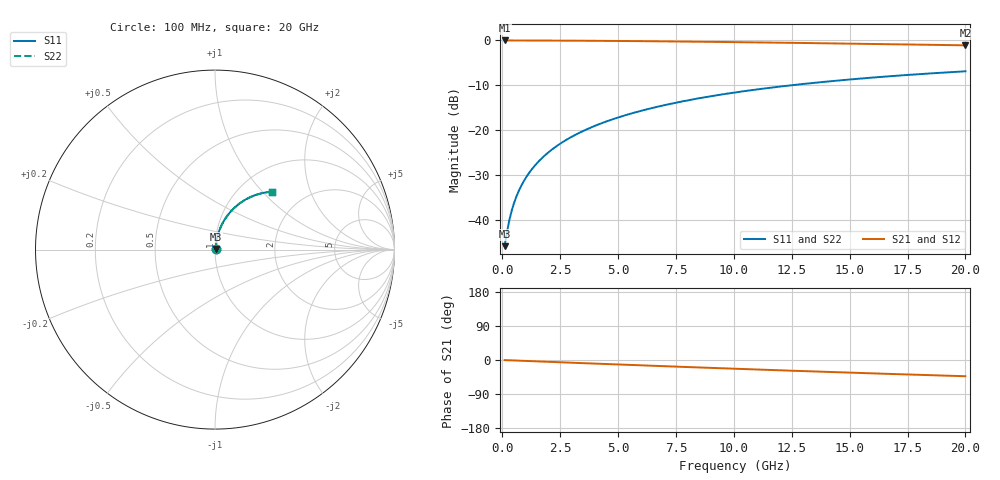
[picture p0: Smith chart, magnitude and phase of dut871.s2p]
! Touchstone file exported from HFSS 2026.1.0
!  File:  C:/ffzhzh/LocalFiles/Ansys_Project_Files/temp_train_BSMRDL_871_1783170905_22436.aedt
!  Generated:  09:16:16 PM Jul  4, 2026
!  Design:  BSMRDL
!  Project:  temp_train_BSMRDL_871_1783170905_22436
! Variables:
!  h_bsmrdl = 4.16um
!  h_ox = 20um
!  h_rdl = 5um
!  h_sub = 80um
!  h_tmrdl = 5um
!  h_tsv = 80um
!  h_via = 3um
!  l_bsmrdl = 595.69um
!  l_sub = 995.69um
!  l_tmrdl = 200um
!  m_sub = 200um
!  pitch = 41.74um
!  r_tsv = 6um
!  s_tmrdl = 10um
!  w_bsmrdl = 12.4um
!  w_sub = 500um
!  w_tmrdl = 12um
!  x_tsv_center1 = 206um
!  x_tsv_center2 = 814.09um
!  x_tsv_center3 = 1026.09um
!  x_tsv_center4 = 1634.18um
!  x_tsv_center5 = 1846.18um
!  x_tsv_center6 = 2454.27um
# GHz S MA R 50.000000
! Terminal data exported
! Port[1] = BSM_RDL1_1_T1
! Port[2] = BSM_RDL1_1_T2
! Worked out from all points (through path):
!   200 points, 100 MHz to 20 GHz, reference 50 ohm
!   highest |S21| = -0.04 dB at 100 MHz (marker M1); lowest = -1.1 dB at 20 GHz (marker M2)
!   group delay of S21, straight-line fit = 5.96 ps
!   lowest |S11| = -45.9 dB at 100 MHz (marker M3), VSWR 1.01, Z = 50.4 + j0.297 ohm
!   |S11| at or under -10 dB: start of sweep to 12.51 GHz
!   |S22| runs from -45.9 to -6.9 dB; largest |S21 - S12| = 2e-15
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0.1  0.005092 35.4  0.9959 -0.2  0.9959 -0.2  0.005092 35.4
! Gamma 0 0 0 0
! Port Impedance 50 0 50 0
0.2  0.007252 54.0  0.9958 -0.5  0.9958 -0.5  0.007252 54.0
0.3  0.009804 63.2  0.9957 -0.7  0.9957 -0.7  0.009804 63.2
0.4  0.01248 68.4  0.9955 -1.0  0.9955 -1.0  0.01248 68.4
0.5  0.0152 71.6  0.9954 -1.2  0.9954 -1.2  0.0152 71.6
0.6  0.01794 73.7  0.9953 -1.5  0.9953 -1.5  0.01794 73.7
0.8  0.02344 76.4  0.995 -1.9  0.995 -1.9  0.02344 76.4
1.1  0.03174 78.5  0.9947 -2.7  0.9947 -2.7  0.03174 78.5
1.5  0.04284 79.6  0.9941 -3.6  0.9941 -3.6  0.04284 79.6
1.8  0.05117 79.8  0.9935 -4.3  0.9935 -4.3  0.05117 79.8
2.1  0.05949 79.8  0.9929 -5.0  0.9929 -5.0  0.05949 79.8
2.7  0.07606 79.3  0.9915 -6.5  0.9915 -6.5  0.07606 79.3
3.5  0.09794 78.0  0.989 -8.3  0.989 -8.3  0.09794 78.0
4.2  0.1168 76.7  0.9865 -10.0  0.9865 -10.0  0.1168 76.7
5  0.1381 75.1  0.9832 -11.8  0.9832 -11.8  0.1381 75.1
5.9  0.1615 73.3  0.9789 -13.9  0.9789 -13.9  0.1615 73.3
6.8  0.1844 71.4  0.9742 -15.9  0.9742 -15.9  0.1844 71.4
8.3  0.2213 68.2  0.9656 -19.3  0.9656 -19.3  0.2213 68.2
10.1  0.2635 64.5  0.954 -23.2  0.954 -23.2  0.2635 64.5
13.4  0.3345 57.8  0.9303 -30.1  0.9303 -30.1  0.3345 57.8
16.7  0.3972 51.5  0.9048 -36.7  0.9048 -36.7  0.3973 51.5
20  0.4516 45.4  0.8788 -42.9  0.8788 -42.9  0.4516 45.5
